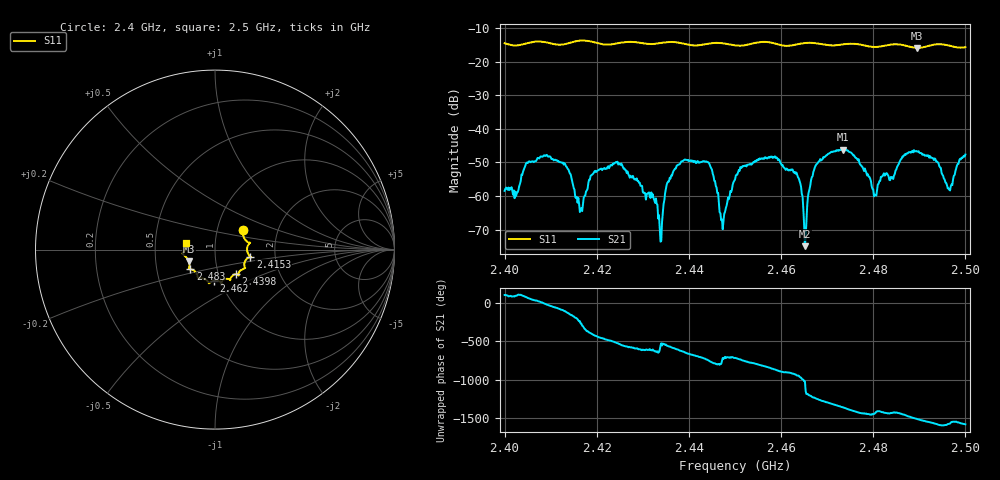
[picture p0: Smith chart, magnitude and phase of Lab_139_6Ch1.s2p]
# Hz S RI R 50
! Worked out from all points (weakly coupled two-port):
!   601 points, 2.4 GHz to 2.5 GHz, reference 50 ohm
!   highest |S21| = -46.17 dB at 2.4735 GHz (marker M1); lowest = -75.0 dB at 2.4652 GHz (marker M2)
!   lowest |S11| = -15.9 dB at 2.4895 GHz (marker M3), VSWR 1.38, Z = 37 - j4.99 ohm
!   |S11| at or under -10 dB: start of sweep to end of sweep
!   S12 and S22 are empty: the file has one direction only
!   S11 on the Smith chart (normalised r, x): 2.4 GHz: 1.33, +0.29; 2.4153 GHz: 1.48, -0.12; 2.4398 GHz: 1.21, -0.34; 2.462 GHz: 0.93, -0.33; 2.483 GHz: 0.74, -0.17; 2.5 GHz: 0.72, +0.06
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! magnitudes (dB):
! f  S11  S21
! 2.4 GHz  -14.5  -58.5
! 2.409 GHz  -14.2  -47.9
! 2.4153 GHz  -14.0  -60.4
! 2.4167 GHz  -13.7  -63.6
! 2.4192 GHz  -14.1  -53.4
! 2.4243 GHz  -14.6  -50.0
! 2.4333 GHz  -14.6  -66.7
! 2.4398 GHz  -15.0  -49.2
! 2.4445 GHz  -14.6  -50.7
! 2.4472 GHz  -14.5  -67.0
! 2.45 GHz  -15.1  -55.1
! 2.462 GHz  -15.2  -52.4
! 2.4638 GHz  -14.7  -54.7
! 2.4652 GHz  -14.5  -75.0
! 2.4667 GHz  -14.4  -54.4
! 2.4735 GHz  -14.8  -46.2
! 2.4803 GHz  -15.6  -59.6
! 2.483 GHz  -15.1  -53.3
! 2.4833 GHz  -15.0  -54.2
! 2.4895 GHz  -15.9  -46.8
! 2.4965 GHz  -15.2  -58.1
! 2.5 GHz  -15.7  -47.7
